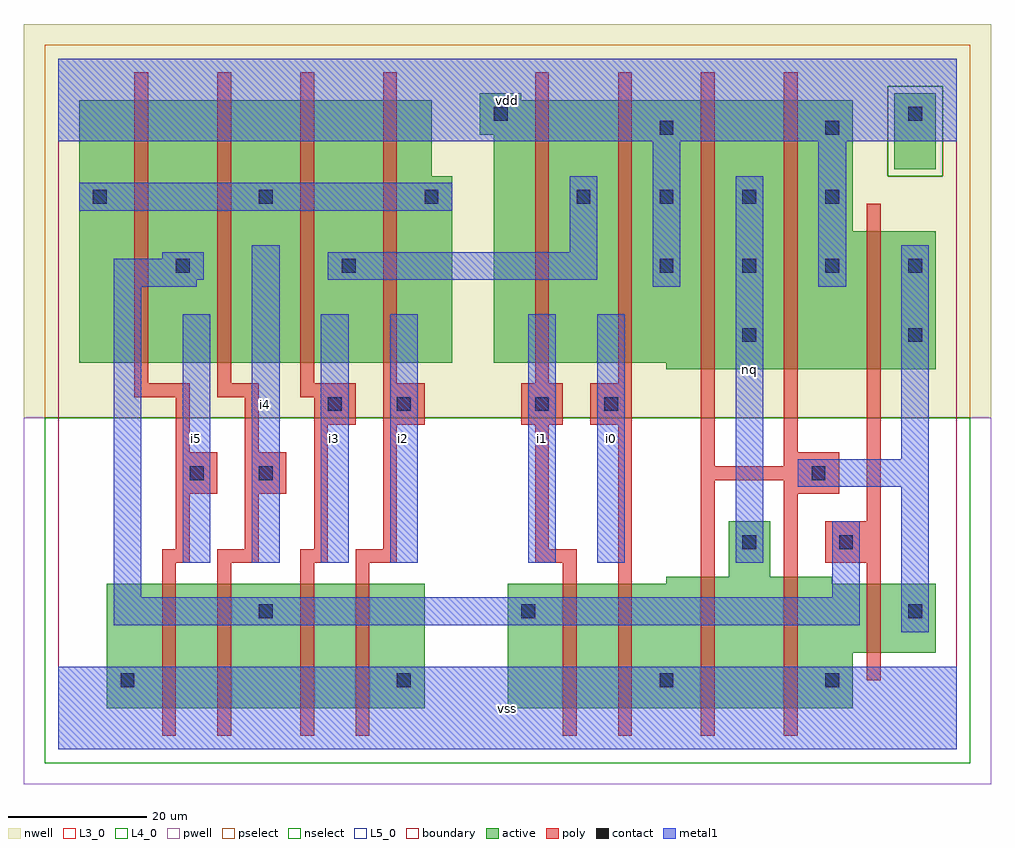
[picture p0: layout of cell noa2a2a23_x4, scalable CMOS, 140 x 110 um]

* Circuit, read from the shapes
.subckt noa2a2a23_x4 i0 i1 i2 i3 i4 i5 nq vdd vss
M1 n1 i5 vss VSUBS nfet w=18u l=2u
M2 n2 i4 n1 VSUBS nfet w=18u l=2u
M3 n3 i3 n2 VSUBS nfet w=18u l=2u
M4 vss i2 n3 VSUBS nfet w=18u l=2u
M5 n4 i1 n2 VSUBS nfet w=18u l=2u
M6 vss i0 n4 VSUBS nfet w=18u l=2u
M7 nq n5 vss VSUBS nfet w=19u l=2u m=2
M8 n5 n2 vss VSUBS nfet w=10u l=2u
M9 n2 i5 n6 vdd pfet w=38u l=2u
M10 n6 i4 n2 vdd pfet w=38u l=2u
M11 n7 i3 n6 vdd pfet w=38u l=2u
M12 n6 i2 n7 vdd pfet w=38u l=2u
M13 n7 i1 vdd vdd pfet w=38u l=2u
M14 vdd i0 n7 vdd pfet w=38u l=2u
M15 nq n5 vdd vdd pfet w=39u l=2u m=2
M16 n5 n2 vdd vdd pfet w=20u l=2u
.ends

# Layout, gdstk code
import gdstk
lib = gdstk.Library(unit=1e-6, precision=1e-09)
def R(c, l, rs):  # rectangles x0, y0, x1, y1
    for r in rs: c.add(gdstk.rectangle(r[:2], r[2:], *l))
def A(c, l, x, y, w, h, nx, ny, dx, dy):  # array of equal rectangles
    R(c, l, [(x+i*dx, y+j*dy, x+i*dx+w, y+j*dy+h) for i in range(nx) for j in range(ny)])
L3_0 = (3, 0)
L4_0 = (4, 0)
L5_0 = (5, 0)
contact = (25, 0)
pwell = (41, 0)
nwell = (42, 0)
active = (43, 0)
pselect = (44, 0)
nselect = (45, 0)
poly = (46, 0)
metal1 = (49, 0)
boundary = (63, 0)

noa2a2a23_x4 = lib.new_cell('noa2a2a23_x4')
R(noa2a2a23_x4, L3_0, [(7,6,53,24), (65,6,115,14), (65,14,127,24), (88,24,112,25), (97,25,103,33)])
R(noa2a2a23_x4, L4_0, [(88,55,127,56), (3,56,57,83), (63,56,127,75), (63,75,115,89), (3,83,54,94), (61,89,115,94), (61,94,67,95)])
R(noa2a2a23_x4, L5_0, [(121,84,127,95)])
A(noa2a2a23_x4, contact, 87, 69, 2, 2, 4, 1, 12, 0)
A(noa2a2a23_x4, contact, 5, 79, 2, 2, 3, 1, 24, 0)
A(noa2a2a23_x4, contact, 75, 79, 2, 2, 4, 1, 12, 0)
R(noa2a2a23_x4, contact, [(9,9,11,11), (49,9,51,11), (87,9,89,11), (111,9,113,11), (29,19,31,21), (67,19,69,21), (123,19,125,21), (99,29,101,31), (113,29,115,31), (19,39,21,41), (29,39,31,41), (109,39,111,41), (39,49,41,51), (49,49,51,51), (69,49,71,51), (79,49,81,51), (99,59,101,61), (123,59,125,61), (17,69,19,71), (41,69,43,71), (87,89,89,91), (111,89,113,91), (63,91,65,93), (123,91,125,93)])
R(noa2a2a23_x4, pwell, [(-5,-5,135,48)])
R(noa2a2a23_x4, nwell, [(-5,48,135,105)])
R(noa2a2a23_x4, active, [(7,6,53,24), (65,6,115,14), (65,14,127,24), (88,24,112,25), (97,25,103,33), (88,55,127,56), (3,56,57,83), (63,56,127,75), (63,75,115,89), (3,83,54,94), (121,84,127,95), (61,89,115,94), (61,94,67,95)])
R(noa2a2a23_x4, pselect, [(-2,48,132,83), (-2,83,120,96), (128,83,132,96), (-2,96,132,102)])
R(noa2a2a23_x4, nselect, [(-2,-2,132,48), (120,83,128,96)])
A(noa2a2a23_x4, poly, 11, 53, 2, 45, 4, 1, 12, 0)
R(noa2a2a23_x4, poly, [(15,2,17,27), (23,2,25,27), (35,2,37,27), (43,2,45,27), (73,2,75,27), (81,2,83,47), (93,2,95,39), (105,2,107,37), (117,10,119,27), (15,27,19,29), (23,27,29,29), (35,27,39,29), (43,27,49,29), (69,27,75,29), (111,27,119,33), (17,29,19,37), (27,29,29,37), (37,29,39,47), (47,29,49,47), (69,29,71,47), (117,33,119,79), (17,37,23,43), (27,37,33,43), (105,37,113,39), (93,39,113,41), (93,41,95,98), (105,41,113,43), (17,43,19,51), (27,43,29,51), (105,43,107,98), (37,47,43,51), (47,47,53,53), (67,47,73,53), (77,47,83,53), (11,51,19,53), (23,51,29,53), (35,51,43,53), (69,53,71,98), (81,53,83,98)])
R(noa2a2a23_x4, metal1, [(0,0,130,12), (122,17,126,38), (8,18,116,22), (8,22,12,67), (112,22,116,33), (18,27,22,63), (28,27,32,73), (38,27,42,63), (48,27,52,63), (68,27,72,63), (78,27,82,63), (98,27,102,83), (107,38,126,42), (122,42,126,73), (8,67,20,68), (86,67,90,88), (110,67,114,88), (8,68,21,71), (39,68,78,72), (15,71,21,72), (74,72,78,83), (3,78,57,82), (0,88,130,100)])
R(noa2a2a23_x4, boundary, [(0,0,130,100)])
noa2a2a23_x4.add(gdstk.Label('i5', (20,45), layer=49, texttype=0))
noa2a2a23_x4.add(gdstk.Label('i3', (40,45), layer=49, texttype=0))
noa2a2a23_x4.add(gdstk.Label('i2', (50,45), layer=49, texttype=0))
noa2a2a23_x4.add(gdstk.Label('i4', (30,50), layer=49, texttype=0))
noa2a2a23_x4.add(gdstk.Label('vss', (65,6), layer=49, texttype=0))
noa2a2a23_x4.add(gdstk.Label('i0', (80,45), layer=49, texttype=0))
noa2a2a23_x4.add(gdstk.Label('i1', (70,45), layer=49, texttype=0))
noa2a2a23_x4.add(gdstk.Label('vdd', (65,94), layer=49, texttype=0))
noa2a2a23_x4.add(gdstk.Label('nq', (100,55), layer=49, texttype=0))

lib.write_gds('noa2a2a23_x4.gds')
